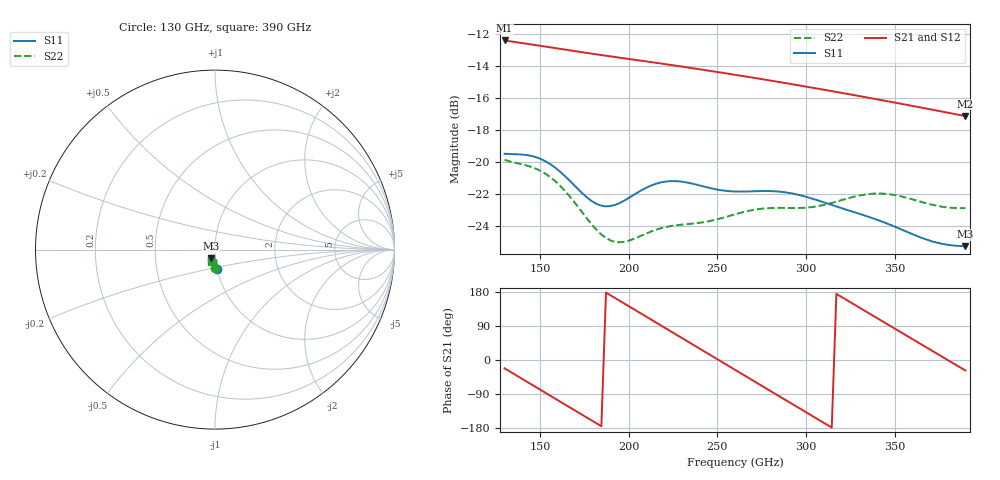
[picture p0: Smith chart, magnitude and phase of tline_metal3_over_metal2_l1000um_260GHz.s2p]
#  GHZ S DB R 50
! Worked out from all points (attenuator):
!   101 points, 130 GHz to 390 GHz, reference 50 ohm
!   highest |S21| = -12.40 dB at 130 GHz (marker M1); lowest = -17.1 dB at 390 GHz (marker M2)
!   lowest |S11| = -25.2 dB at 390 GHz (marker M3), VSWR 1.12, Z = 47.4 - j4.68 ohm
!   |S11| at or under -10 dB: start of sweep to end of sweep
!   |S22| runs from -25.0 to -19.8 dB; largest |S21 - S12| = 3.3e-15
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130  -19.47 -84.8  -12.40 -22.1  -12.40 -22.1  -19.85 -91.3
140.4  -19.52 -86.4  -12.58 -51.2  -12.58 -51.2  -20.14 -92.4
150.8  -19.81 -90.5  -12.75 -80.3  -12.75 -80.3  -20.56 -96.2
161.2  -20.57 -94.7  -12.92 -109.4  -12.92 -109.4  -21.45 -100.6
174.2  -21.97 -95.1  -13.14 -145.7  -13.14 -145.7  -23.18 -102.3
184.6  -22.70 -90.3  -13.31 -174.8  -13.31 -174.8  -24.50 -97.6
195  -22.53 -84.9  -13.48 156.2  -13.48 156.2  -24.98 -89.6
208  -21.70 -84.3  -13.68 119.8  -13.68 119.8  -24.53 -83.3
218.4  -21.25 -87.8  -13.84 90.7  -13.84 90.7  -24.10 -82.3
228.8  -21.19 -92.3  -14.01 61.5  -14.01 61.5  -23.90 -82.6
241.8  -21.49 -96.6  -14.23 25.1  -14.23 25.1  -23.74 -82.4
249.6  -21.69 -98.0  -14.36 3.3  -14.36 3.3  -23.56 -82.2
260  -21.82 -99.2  -14.54 -25.8  -14.54 -25.8  -23.24 -82.8
270.4  -21.80 -101.0  -14.73 -54.9  -14.73 -54.9  -22.97 -84.5
280.8  -21.80 -103.9  -14.92 -84.0  -14.92 -84.0  -22.85 -86.8
291.2  -21.92 -107.4  -15.11 -113.0  -15.11 -113.0  -22.85 -88.4
304.2  -22.28 -111.4  -15.36 -149.3  -15.36 -149.3  -22.78 -89.2
322.4  -22.94 -115.2  -15.71 160.0  -15.71 160.0  -22.29 -91.4
335.4  -23.40 -117.3  -15.98 123.8  -15.98 123.8  -21.98 -95.5
348.4  -23.93 -119.0  -16.24 87.7  -16.24 87.7  -22.01 -100.4
371.8  -24.95 -118.5  -16.73 22.8  -16.73 22.8  -22.66 -105.4
390  -25.23 -116.0  -17.12 -27.6  -17.12 -27.6  -22.85 -105.9
